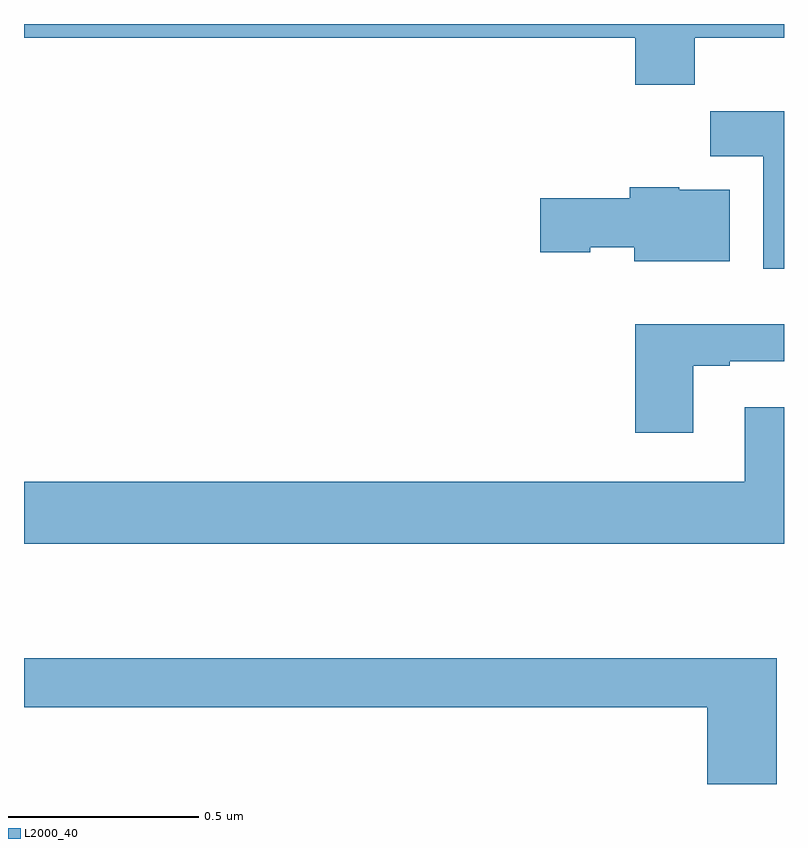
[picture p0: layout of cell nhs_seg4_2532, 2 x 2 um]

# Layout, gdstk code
import gdstk
lib = gdstk.Library(unit=1e-6, precision=1e-09)
def P(c, l, *ps):  # polygons
    for p in ps: c.add(gdstk.Polygon(p, *l))
L2000_40 = (2000, 40)

nhs_seg4_2532 = lib.new_cell('nhs_seg4_2532')
P(nhs_seg4_2532, L2000_40, [(143.765,752.864),(144,752.864),(144,752.9),(142,752.9),(142,752.864),(143.609,752.864),(143.609,752.74),(143.765,752.74)],
  [(144,752.671),(143.806,752.671),(143.806,752.552),(143.945,752.552),(143.945,752.256),(144,752.256)],
  [(143.857,752.464),(143.724,752.464),(143.724,752.47),(143.594,752.47),(143.594,752.442),(143.358,752.442),(143.358,752.3),(143.49,752.3),(143.49,752.312),(143.606,752.312),(143.606,752.276),(143.857,752.276)],
  [(143.761,752.001),(143.857,752.001),(143.857,752.013),(144,752.013),(144,752.11),(143.609,752.11),(143.609,751.824),(143.761,751.824)],
  [(144,751.891),(143.897,751.891),(143.897,751.696),(142,751.696),(142,751.532),(144,751.532)],
  [(143.981,751.231),(142,751.231),(142,751.102),(143.798,751.102),(143.798,750.9),(143.981,750.9)])

lib.write_gds('nhs_seg4_2532.gds')
